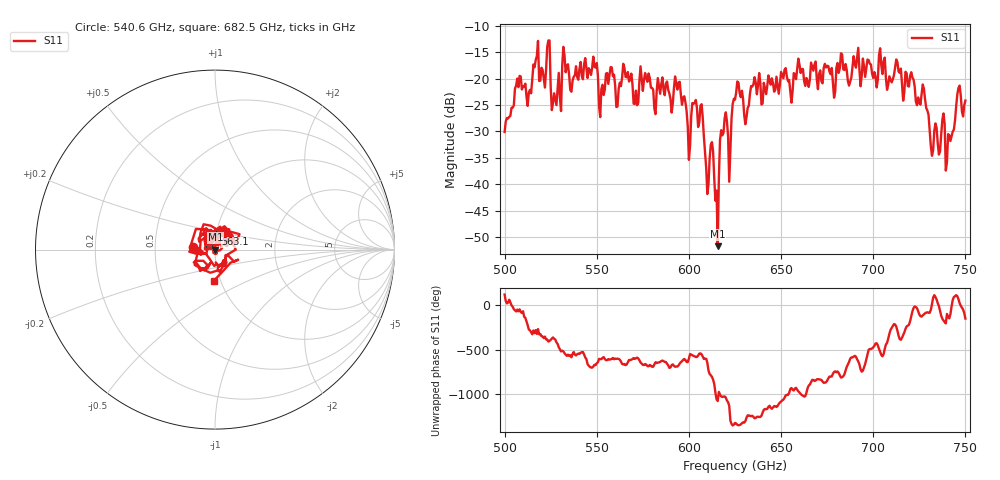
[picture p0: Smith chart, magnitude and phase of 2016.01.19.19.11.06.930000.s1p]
!Created with skrf (http://scikit-rf.org).
# GHz S RI R 50.0
!freq ReS11 ImS11
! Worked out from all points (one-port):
!   401 points, 500 GHz to 750 GHz, reference 50 ohm
!   lowest |S11| = -51.7 dB at 615.6 GHz (marker M1), VSWR 1.01, Z = 50.3 + j0.0248 ohm
!   |S11| at or under -10 dB: start of sweep to end of sweep
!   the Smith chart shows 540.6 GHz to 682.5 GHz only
!   S11 on the Smith chart (normalised r, x): 540.6 GHz: 0.78, +0.02; 563.1 GHz: 0.99, +0.17; 682.5 GHz: 0.93, -0.33
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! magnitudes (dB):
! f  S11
! 500 GHz  -30.1
! 507.5 GHz  -21.6
! 513.1 GHz  -22.7
! 516.9 GHz  -16.5
! 523.8 GHz  -12.8
! 526.9 GHz  -22.8
! 531.2 GHz  -17.6
! 540.6 GHz  -18.1
! 562.5 GHz  -20.8
! 563.1 GHz  -21.4
! 593.8 GHz  -22.1
! 600 GHz  -35.4
! 606.9 GHz  -24.8
! 609.4 GHz  -36.9
! 612.5 GHz  -32.0
! 615.6 GHz  -51.7
! 618.1 GHz  -30.7
! 621.9 GHz  -39.5
! 625 GHz  -24.0
! 656.2 GHz  -22.4
! 682.5 GHz  -15.2
! 687.5 GHz  -20.6
! 718.8 GHz  -21.4
! 727.5 GHz  -21.9
! 731.9 GHz  -34.6
! 740.6 GHz  -30.5
! 746.2 GHz  -21.8
! 750 GHz  -24.2
